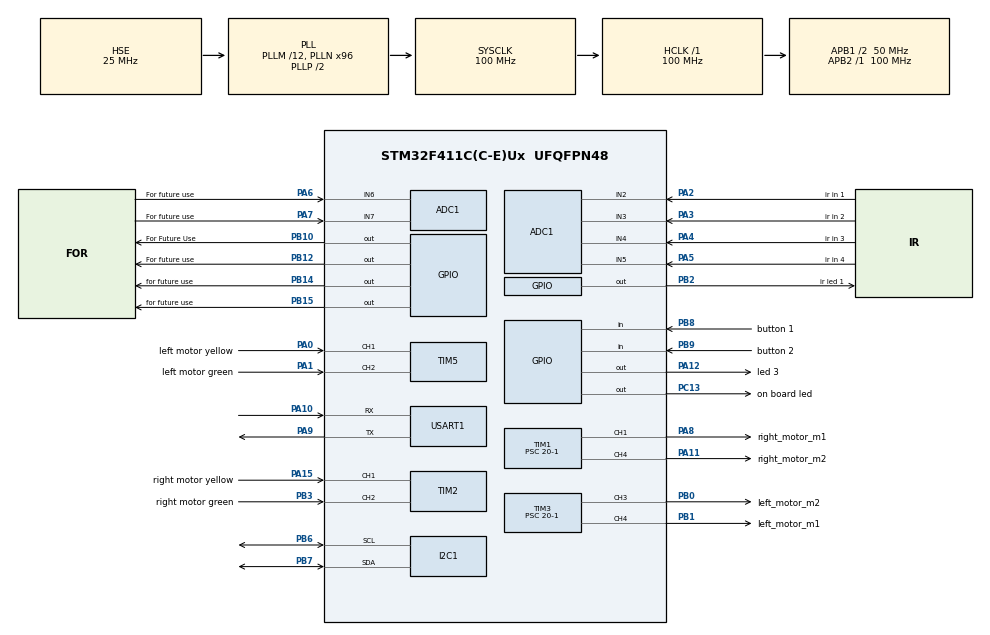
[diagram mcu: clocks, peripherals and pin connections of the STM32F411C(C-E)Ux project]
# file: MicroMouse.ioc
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ADC1.Channel-1\#ChannelRegularConversion=ADC_CHANNEL_2
ADC1.Channel-2\#ChannelRegularConversion=ADC_CHANNEL_3
ADC1.Channel-3\#ChannelRegularConversion=ADC_CHANNEL_4
ADC1.Channel-4\#ChannelRegularConversion=ADC_CHANNEL_5
ADC1.ContinuousConvMode=DISABLE
ADC1.NbrOfConversion=4
ADC1.NbrOfConversionFlag=1
ADC1.Rank-1\#ChannelRegularConversion=1
ADC1.Rank-2\#ChannelRegularConversion=2
ADC1.Rank-3\#ChannelRegularConversion=3
ADC1.Rank-4\#ChannelRegularConversion=4
ADC1.SamplingTime-1\#ChannelRegularConversion=ADC_SAMPLETIME_480CYCLES
ADC1.SamplingTime-2\#ChannelRegularConversion=ADC_SAMPLETIME_480CYCLES
ADC1.SamplingTime-3\#ChannelRegularConversion=ADC_SAMPLETIME_480CYCLES
ADC1.SamplingTime-4\#ChannelRegularConversion=ADC_SAMPLETIME_480CYCLES
ADC1.ScanConvMode=ENABLE
ADC1.master=1
Dma.ADC1.0.Direction=DMA_PERIPH_TO_MEMORY
Dma.ADC1.0.FIFOMode=DMA_FIFOMODE_DISABLE
Dma.ADC1.0.Instance=DMA2_Stream0
Dma.ADC1.0.MemDataAlignment=DMA_MDATAALIGN_HALFWORD
Dma.ADC1.0.MemInc=DMA_MINC_ENABLE
Dma.ADC1.0.Mode=DMA_NORMAL
Dma.ADC1.0.PeriphDataAlignment=DMA_PDATAALIGN_HALFWORD
Dma.ADC1.0.PeriphInc=DMA_PINC_DISABLE
Dma.ADC1.0.Priority=DMA_PRIORITY_HIGH
Dma.Request0=ADC1
Mcu.Family=STM32F4
Mcu.Name=STM32F411C(C-E)Ux
Mcu.Package=UFQFPN48
NVIC.DMA2_Stream0_IRQn=true\:0\:0\:false\:false\:true\:false\:true\:true
NVIC.PriorityGroup=NVIC_PRIORITYGROUP_4
NVIC.TIM1_UP_TIM10_IRQn=true\:0\:0\:false\:false\:true\:true\:true\:true
NVIC.TIM4_IRQn=true\:0\:0\:false\:false\:true\:true\:true\:true
PA0-WKUP.GPIO_Label=left motor yellow
PA0-WKUP.Signal=S_TIM5_CH1
PA1.GPIO_Label=left motor green
PA1.Signal=S_TIM5_CH2
PA10.Mode=Asynchronous
PA10.Signal=USART1_RX
PA11.GPIO_Label=right_motor_m2
PA11.Signal=S_TIM1_CH4
PA12.GPIO_Label=led 3
PA12.Signal=GPIO_Output
PA13.Mode=Serial_Wire
PA13.Signal=SYS_JTMS-SWDIO
PA14.Mode=Serial_Wire
PA14.Signal=SYS_JTCK-SWCLK
PA15.GPIO_Label=right motor yellow
PA15.Signal=S_TIM2_CH1_ETR
PA2.GPIO_Label=ir in 1
PA2.Signal=ADCx_IN2
PA3.GPIO_Label=ir in 2
PA3.Signal=ADCx_IN3
PA4.GPIO_Label=ir in 3
PA4.Signal=ADCx_IN4
PA5.GPIO_Label=ir in 4
PA5.Signal=ADCx_IN5
PA6.GPIO_Label=For future use
PA6.Signal=ADCx_IN6
PA7.GPIO_Label=For future use
PA7.Signal=ADCx_IN7
PA8.GPIO_Label=right_motor_m1
PA8.Signal=S_TIM1_CH1
PA9.Mode=Asynchronous
PA9.Signal=USART1_TX
PB0.GPIO_Label=left_motor_m2
PB0.Signal=S_TIM3_CH3
PB1.GPIO_Label=left_motor_m1
PB1.Signal=S_TIM3_CH4
PB10.GPIO_Label=For Future Use
PB10.Signal=GPIO_Output
PB12.GPIO_Label=For future use
PB12.Signal=GPIO_Output
PB14.GPIO_Label=for future use
PB14.Signal=GPIO_Output
PB15.GPIO_Label=for future use
PB15.Signal=GPIO_Output
PB2.GPIO_Label=ir led 1
PB2.Signal=GPIO_Output
PB3.GPIO_Label=right motor green
PB3.Signal=S_TIM2_CH2
PB6.Mode=I2C
PB6.Signal=I2C1_SCL
PB7.Mode=I2C
PB7.Signal=I2C1_SDA
PB8.GPIO_Label=button 1
PB8.Signal=GPIO_Input
PB9.GPIO_Label=button 2
PB9.Signal=GPIO_Input
PC13-ANTI_TAMP.GPIO_Label=on board led
PC13-ANTI_TAMP.Signal=GPIO_Output
PC14-OSC32_IN.Mode=LSE-External-Oscillator
PC14-OSC32_IN.Signal=RCC_OSC32_IN
PC15-OSC32_OUT.Mode=LSE-External-Oscillator
PC15-OSC32_OUT.Signal=RCC_OSC32_OUT
PH0\ -\ OSC_IN.Mode=HSE-External-Oscillator
PH0\ -\ OSC_IN.Signal=RCC_OSC_IN
PH1\ -\ OSC_OUT.Mode=HSE-External-Oscillator
PH1\ -\ OSC_OUT.Signal=RCC_OSC_OUT
ProjectManager.HeapSize=0x200
ProjectManager.StackSize=0x400
ProjectManager.TargetToolchain=STM32CubeIDE
RCC.48MHZClocksFreq_Value=50000000
RCC.AHBFreq_Value=100000000
RCC.APB1CLKDivider=RCC_HCLK_DIV2
RCC.APB1Freq_Value=50000000
RCC.APB1TimFreq_Value=100000000
RCC.APB2Freq_Value=100000000
RCC.APB2TimFreq_Value=100000000
RCC.CortexFreq_Value=100000000
RCC.HCLKFreq_Value=100000000
RCC.HSE_VALUE=25000000
RCC.HSI_VALUE=16000000
RCC.PLLM=12
RCC.PLLN=96
RCC.PLLSourceVirtual=RCC_PLLSOURCE_HSE
RCC.SYSCLKFreq_VALUE=100000000
RCC.SYSCLKSource=RCC_SYSCLKSOURCE_PLLCLK
RCC.VCOOutputFreq_Value=200000000
SH.ADCx_IN2.0=ADC1_IN2,IN2
SH.ADCx_IN3.0=ADC1_IN3,IN3
SH.ADCx_IN4.0=ADC1_IN4,IN4
SH.ADCx_IN5.0=ADC1_IN5,IN5
SH.ADCx_IN6.0=ADC1_IN6,IN6
SH.ADCx_IN7.0=ADC1_IN7,IN7
SH.S_TIM1_CH1.0=TIM1_CH1,PWM Generation1 CH1
SH.S_TIM1_CH4.0=TIM1_CH4,PWM Generation4 CH4
SH.S_TIM2_CH1_ETR.0=TIM2_CH1,Encoder_Interface
SH.S_TIM2_CH2.0=TIM2_CH2,Encoder_Interface
SH.S_TIM3_CH3.0=TIM3_CH3,PWM Generation3 CH3
SH.S_TIM3_CH4.0=TIM3_CH4,PWM Generation4 CH4
SH.S_TIM5_CH1.0=TIM5_CH1,Encoder_Interface
SH.S_TIM5_CH2.0=TIM5_CH2,Encoder_Interface
TIM1.Channel-PWM\ Generation1\ CH1=TIM_CHANNEL_1
TIM1.Channel-PWM\ Generation4\ CH4=TIM_CHANNEL_4
TIM1.Period=4999
TIM1.Prescaler=20-1
TIM10.AutoReloadPreload=TIM_AUTORELOAD_PRELOAD_ENABLE
TIM10.Channel=TIM_CHANNEL_1
TIM10.Period=25000
TIM10.Prescaler=100-1
TIM2.EncoderMode=TIM_ENCODERMODE_TI12
TIM3.Channel-PWM\ Generation3\ CH3=TIM_CHANNEL_3
TIM3.Channel-PWM\ Generation4\ CH4=TIM_CHANNEL_4
TIM3.Period=4999
TIM3.Prescaler=20-1
TIM4.Channel-PWM\ Generation1\ No\ Output=TIM_CHANNEL_1
TIM4.Period=1000
TIM4.Prescaler=100-1
TIM5.EncoderMode=TIM_ENCODERMODE_TI12
USART1.VirtualMode=VM_ASYNC
VP_TIM10_VS_ClockSourceINT.Mode=Enable_Timer
VP_TIM10_VS_no_output1.Mode=PWM Generation1 No Output
VP_TIM4_VS_no_output1.Mode=PWM Generation1 No Output
board=custom

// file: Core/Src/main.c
/* USER CODE BEGIN Header */
/**
 ******************************************************************************
 * @file           : main.c
 * @brief          : Main program body
 ******************************************************************************
 * @attention
 *
 * Copyright (c) 2026 STM00icroelectronics.
 * All rights reserved.
 *
 * This software is licensed under terms that can be found in the LICENSE file
 * in the root directory of this software component.
 * If no LICENSE file comes with this software, it is provided AS-IS.
 *
 ******************************************************************************
 */
/* USER CODE END Header */
#include "main.h"
#include "adc.h"
#include "dma.h"
#include "i2c.h"
#include "tim.h"
#include "usart.h"
#include "gpio.h"

/* USER CODE BEGIN Includes */
#include "mouse.h"
#include "pid.h"
#include "motors.h"
#include "encoders.h"
#include "sensors.h"
#include "ui.h"
#include "map.h"
#include "floodfill.h"
#include "uart.h"
#include "mpu6050.h"
/* USER CODE END Includes */

/* USER CODE BEGIN PTD */

/* Sensor reading flag — set in TIM4 ISR, consumed in main loop */
volatile bool flag_sensors = false;
volatile bool flag_sensors_in_progress = false;

/**
 * @brief  TIM4 Period Elapsed Callback — Control Loop Heartbeat (~1 kHz)
 *
 * This is the real-time control pipeline, adapted from the reference
 * TIM7_IRQHandler:
 * 1. Update odometry (encoder deltas → position/heading)
 * 2. Run move controller (forward + direction)
 * 3. Mix velocities into motor RPM setpoints
 * 4. Run motor PID controllers
 * 5. Trigger sensor reading in main loop
 */
void HAL_TIM_PeriodElapsedCallback(TIM_HandleTypeDef *htim)
{
    if (htim->Instance == TIM4)
    {
        /* 1. Odometry */
        Encoders_UpdatePosition(&mouse, &motorLeft, &motorRight);

        /* 2. Move controller */
        if (Mouse_ControllerIsEnabled(&mouse))
        {
            if (mouse.forward_control)
                Mouse_ControllerForward(&mouse);
            if (mouse.rotation_control)
                Mouse_ControllerDirection(&mouse);
        }

        /* 3. Mix forward/direction into motor RPM setpoints */
        if (mouse.state != MOUSE_MANUAL && mouse.state != MOUSE_PID)
        {
            motorLeft.set_rpm  = mouse.forward + mouse.direction;
            motorRight.set_rpm = mouse.forward - mouse.direction;
        }

        /* 4. Motor PID */
        if (PID_IsEnabled(&motorLeft))
            PID_Controller(&motorLeft);
        if (PID_IsEnabled(&motorRight))
            PID_Controller(&motorRight);

        /* 5. Trigger sensor read in main loop */
        if (!flag_sensors && !flag_sensors_in_progress)
            flag_sensors = true;

        /* 6. Schedule Gyro update at 200 Hz (every 5 ticks) */
        static uint8_t gyro_tick = 0;
        if (++gyro_tick >= 5)
        {
            gyro_tick = 0;
            MPU6050_ScheduleUpdate();
        }
    }
}

/* USER CODE END PTD */

void SystemClock_Config(void);

int main(void)
{

  /* MCU Configuration--------------------------------------------------------*/

  /* Reset of all peripherals, Initializes the Flash interface and the Systick. */
  HAL_Init();

  /* Configure the system clock */
  SystemClock_Config();

  /* Initialize all configured peripherals */
  MX_GPIO_Init();
  MX_DMA_Init();
  MX_ADC1_Init();
  MX_I2C1_Init();
  MX_TIM2_Init();
  MX_TIM3_Init();
  MX_TIM5_Init();
  MX_USART1_UART_Init();
  MX_TIM4_Init();
  MX_TIM1_Init();
  MX_TIM10_Init();
  /* USER CODE BEGIN 2 */

  /* Initialize application modules */
  Motors_Init();   /* Starts encoders, PWM, TIM4 interrupt */

  /* Initialize PID controllers — gains need tuning for 1 kHz rate */
  PID_Init(&motorLeft,  MOTOR_LEFT,  0.15f, 0.0f, 0.0f);
  PID_Init(&motorRight, MOTOR_RIGHT, 0.15f, 0.0f, 0.0f);

  PID_Disable(&motorLeft);
  PID_Disable(&motorRight);
  Mouse_ControllerDisable(&mouse);

  Map_Init(&mouse);

  mouse.face_direction = DIR_NORTH;
  mouse.state = MOUSE_IDLE;

  /* Initialize MPU6050 (left untouched, not integrated into control loop) */
  MPU6050_Init();

  UART_Print("\r\n--- MicroMouse Ready ---\r\n");

  /* 3-second countdown — place mouse and step back */
  for (int i = 3; i > 0; i--)
  {
      printf("Starting in %d...\r\n", i);
      HAL_GPIO_TogglePin(on_board_led_GPIO_Port, on_board_led_Pin);
      HAL_Delay(1000);
  }

  /* Initialize and run floodfill */
  Floodfill_Init();
  PID_Enable(&motorLeft);
  PID_Enable(&motorRight);
  Mouse_ControllerEnable(&mouse);
  mouse.state = MOUSE_RUN;

  UART_Print("\r\n--- SOLVING ---\r\n");
  Floodfill_Run(false);  /* blocks until center reached */
  UART_Print("\r\n--- DONE ---\r\n");

  /* USER CODE END 2 */

  /* Infinite loop */
  /* USER CODE BEGIN WHILE */
  while (1)
  {
      /* --- Sensor reading (main loop, flag-triggered) --- */
      if (flag_sensors)
      {
          flag_sensors_in_progress = true;
          mouse.left_front_sensor_mm  = Sensor_GetLeftFront(SENSOR_MM);
          mouse.right_front_sensor_mm = Sensor_GetRightFront(SENSOR_MM);
          mouse.left_side_sensor_mm   = Sensor_GetLeftSide(SENSOR_MM);
          mouse.right_side_sensor_mm  = Sensor_GetRightSide(SENSOR_MM);

          /* Hardcoded side IR calibrations */
          if (mouse.right_side_sensor_mm > 80.0f) {
              mouse.right_side_sensor_mm -= 15.0f; /* Overestimates beyond 8cm */
          }

          if (mouse.left_side_sensor_mm < 25.0f || mouse.left_side_sensor_mm > 35.0f) {
              mouse.left_side_sensor_mm += 10.0f;  /* Reads -1cm for everything except ~3cm */
          }

          flag_sensors = false;
          flag_sensors_in_progress = false;
      }

      /* --- State machine --- */
      State_Handle();

      /* --- Gyro Service --- */
      MPU6050_Service();

      /* --- LED heartbeat --- */
      LED_Heartbeat();

  }
}

void SystemClock_Config(void)
{
  RCC_OscInitTypeDef RCC_OscInitStruct = {0};
  RCC_ClkInitTypeDef RCC_ClkInitStruct = {0};

  /** Configure the main internal regulator output voltage
  */
  __HAL_RCC_PWR_CLK_ENABLE();
  __HAL_PWR_VOLTAGESCALING_CONFIG(PWR_REGULATOR_VOLTAGE_SCALE1);

  /** Initializes the RCC Oscillators according to the specified parameters
  * in the RCC_OscInitTypeDef structure.
  */
  RCC_OscInitStruct.OscillatorType = RCC_OSCILLATORTYPE_HSE;
  RCC_OscInitStruct.HSEState = RCC_HSE_ON;
  RCC_OscInitStruct.PLL.PLLState = RCC_PLL_ON;
  RCC_OscInitStruct.PLL.PLLSource = RCC_PLLSOURCE_HSE;
  RCC_OscInitStruct.PLL.PLLM = 12;
  RCC_OscInitStruct.PLL.PLLN = 96;
  RCC_OscInitStruct.PLL.PLLP = RCC_PLLP_DIV2;
  RCC_OscInitStruct.PLL.PLLQ = 4;
  if (HAL_RCC_OscConfig(&RCC_OscInitStruct) != HAL_OK)
  {
    Error_Handler();
  }

  /** Initializes the CPU, AHB and APB buses clocks
  */
  RCC_ClkInitStruct.ClockType = RCC_CLOCKTYPE_HCLK|RCC_CLOCKTYPE_SYSCLK
                              |RCC_CLOCKTYPE_PCLK1|RCC_CLOCKTYPE_PCLK2;
  RCC_ClkInitStruct.SYSCLKSource = RCC_SYSCLKSOURCE_PLLCLK;
  RCC_ClkInitStruct.AHBCLKDivider = RCC_SYSCLK_DIV1;
  RCC_ClkInitStruct.APB1CLKDivider = RCC_HCLK_DIV2;
  RCC_ClkInitStruct.APB2CLKDivider = RCC_HCLK_DIV1;

  if (HAL_RCC_ClockConfig(&RCC_ClkInitStruct, FLASH_LATENCY_3) != HAL_OK)
  {
    Error_Handler();
  }
}

void Error_Handler(void)
{
	__disable_irq();
	while (1) {
	}
}
